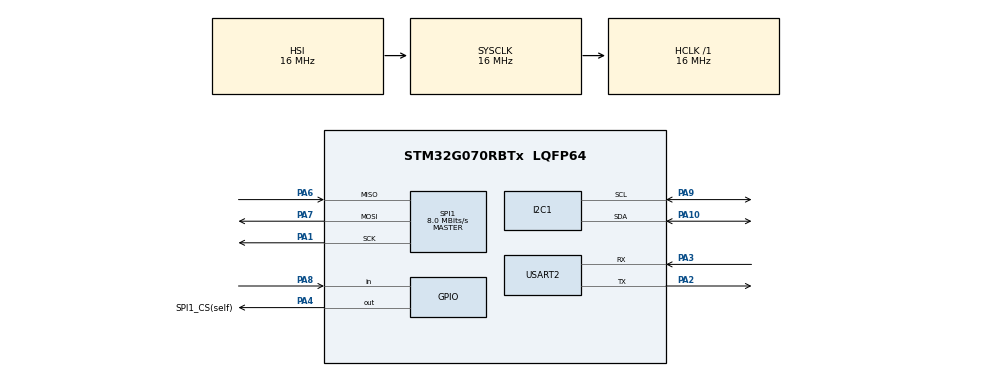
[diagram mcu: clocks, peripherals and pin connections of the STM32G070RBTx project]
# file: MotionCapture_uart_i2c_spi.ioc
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I2C1.Timing=0x00503D58
Mcu.Family=STM32G0
Mcu.Name=STM32G070RBTx
Mcu.Package=LQFP64
NVIC.TIM3_IRQn=true\:0\:0\:false\:false\:true\:true\:true\:true
PA1.Mode=Full_Duplex_Master
PA1.Signal=SPI1_SCK
PA10.Mode=I2C
PA10.Signal=I2C1_SDA
PA2.GPIO_PuPd=GPIO_PULLUP
PA2.Mode=Asynchronous
PA2.Signal=USART2_TX
PA3.GPIO_PuPd=GPIO_PULLUP
PA3.Mode=Asynchronous
PA3.Signal=USART2_RX
PA4.GPIO_Label=SPI1_CS(self)
PA4.Signal=GPIO_Output
PA6.Mode=Full_Duplex_Master
PA6.Signal=SPI1_MISO
PA7.Mode=Full_Duplex_Master
PA7.Signal=SPI1_MOSI
PA8.GPIO_PuPd=GPIO_NOPULL
PA8.Signal=GPIO_Input
PA9.Mode=I2C
PA9.Signal=I2C1_SCL
ProjectManager.HeapSize=0x200
ProjectManager.StackSize=0x400
ProjectManager.TargetToolchain=STM32CubeIDE
RCC.AHBFreq_Value=16000000
RCC.CortexFreq_Value=16000000
RCC.EXTERNAL_CLOCK_VALUE=12288000
RCC.HCLKFreq_Value=16000000
RCC.HSE_VALUE=8000000
RCC.HSI_VALUE=16000000
RCC.LSE_VALUE=32768
RCC.SYSCLKFreq_VALUE=16000000
RCC.VCOOutputFreq_Value=128000000
SPI1.CalculateBaudRate=8.0 MBits/s
SPI1.Direction=SPI_DIRECTION_2LINES
SPI1.Mode=SPI_MODE_MASTER
SPI1.VirtualType=VM_MASTER
TIM3.Period=15999
USART2.VirtualMode-Asynchronous=VM_ASYNC
USART2.WordLength=WORDLENGTH_7B
VP_TIM3_VS_ClockSourceINT.Mode=Internal
board=NUCLEO-G070RB

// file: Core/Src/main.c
/* USER CODE BEGIN Header */
/**
  ******************************************************************************
  * @file           : main.c
  * @brief          : Main program body
  ******************************************************************************
  * @attention
  *
  * Copyright (c) 2026 STMicroelectronics.
  * All rights reserved.
  *
  * This software is licensed under terms that can be found in the LICENSE file
  * in the root directory of this software component.
  * If no LICENSE file comes with this software, it is provided AS-IS.
  *
  ******************************************************************************
  */
/* USER CODE END Header */
#include "main.h"

/* USER CODE BEGIN Includes */
#include <stdio.h>
#include <string.h>
#include "ssd1306.h"
#include "fonts.h"
/* USER CODE END Includes */

/* USER CODE BEGIN PD */
#define NO_MOTION 0x00
#define MOTION_DETECTED 0x01
/* USER CODE END PD */

I2C_HandleTypeDef hi2c1;

SPI_HandleTypeDef hspi1;

TIM_HandleTypeDef htim3;

UART_HandleTypeDef huart2;

/* USER CODE BEGIN PV */
volatile uint8_t timer_flag = 0;
uint8_t motion_state = 0;
uint8_t prev_motion_state = GPIO_PIN_RESET;

char uart_buf[100];
/* USER CODE END PV */

void SystemClock_Config(void);
static void MX_GPIO_Init(void);
static void MX_I2C1_Init(void);
static void MX_TIM3_Init(void);
static void MX_USART2_UART_Init(void);
static void MX_SPI1_Init(void);

/* USER CODE BEGIN 0 */
/*UART Output*/
int _write(int file, char *ptr,int len){
	HAL_UART_Transmit(&huart2,(uint8_t *)ptr,len,HAL_MAX_DELAY);
	return len;
}

void HAL_TIM_PeriodElapsedCallback(TIM_HandleTypeDef *htim){
	if(htim->Instance == TIM3){
		timer_flag = 1;
	}

}

/*to others to send the state*/
void SPI_SendMotionState(uint8_t state){
    uint8_t rx = 0;

    HAL_GPIO_WritePin(GPIOA, GPIO_PIN_4, GPIO_PIN_RESET);
    HAL_Delay(1);

    HAL_SPI_TransmitReceive(&hspi1, &state, &rx, 1, HAL_MAX_DELAY);

    HAL_Delay(1);
    HAL_GPIO_WritePin(GPIOA, GPIO_PIN_4, GPIO_PIN_SET);

}
/* USER CODE END 0 */

int main(void)
{

  /* MCU Configuration--------------------------------------------------------*/

  /* Reset of all peripherals, Initializes the Flash interface and the Systick. */
  HAL_Init();

  /* Configure the system clock */
  SystemClock_Config();

  /* Initialize all configured peripherals */
  MX_GPIO_Init();
  MX_I2C1_Init();
  MX_TIM3_Init();
  MX_USART2_UART_Init();
  MX_SPI1_Init();
  /* USER CODE BEGIN 2 */
  HAL_TIM_Base_Start_IT(&htim3);
  printf("System Start\r\n");

  ssd1306_Init(&hi2c1);
  ssd1306_Fill(Black);
  ssd1306_SetCursor(0, 0);
  ssd1306_WriteString("Hello OLED", Font_7x10, White);
  ssd1306_UpdateScreen(&hi2c1);
  HAL_Delay(5000);
  printf("PIR Ready\r\n");
  /* USER CODE END 2 */

  /* Infinite loop */
  while (1)
  {

    /* USER CODE BEGIN 3 */
	  ssd1306_Fill(Black);
	  ssd1306_SetCursor(0, 0);
	  ssd1306_WriteString("Motion Sensor", Font_7x10, White);
	  ssd1306_SetCursor(0, 20);

	  if(timer_flag){
		  timer_flag = 0;
		  motion_state = HAL_GPIO_ReadPin(GPIOA,GPIO_PIN_8);

		  if(motion_state != prev_motion_state){
			  if(motion_state == GPIO_PIN_SET){

				  printf("Motion Detected\r\n");
				  ssd1306_WriteString("Motion Detected", Font_7x10, White);
				  SPI_SendMotionState(MOTION_DETECTED);
			  }else{
				  printf("No Motion\r\n");
				  ssd1306_WriteString("No Motion", Font_7x10, White);
				  SPI_SendMotionState(NO_MOTION);
			  }
			  ssd1306_UpdateScreen(&hi2c1);
			  prev_motion_state = motion_state;
		  }
	  }
  }
  /* USER CODE END 3 */
}

void SystemClock_Config(void)
{
  RCC_OscInitTypeDef RCC_OscInitStruct = {0};
  RCC_ClkInitTypeDef RCC_ClkInitStruct = {0};

  /** Configure the main internal regulator output voltage
  */
  HAL_PWREx_ControlVoltageScaling(PWR_REGULATOR_VOLTAGE_SCALE1);

  /** Initializes the RCC Oscillators according to the specified parameters
  * in the RCC_OscInitTypeDef structure.
  */
  RCC_OscInitStruct.OscillatorType = RCC_OSCILLATORTYPE_HSI;
  RCC_OscInitStruct.HSIState = RCC_HSI_ON;
  RCC_OscInitStruct.HSIDiv = RCC_HSI_DIV1;
  RCC_OscInitStruct.HSICalibrationValue = RCC_HSICALIBRATION_DEFAULT;
  RCC_OscInitStruct.PLL.PLLState = RCC_PLL_NONE;
  if (HAL_RCC_OscConfig(&RCC_OscInitStruct) != HAL_OK)
  {
    Error_Handler();
  }

  /** Initializes the CPU, AHB and APB buses clocks
  */
  RCC_ClkInitStruct.ClockType = RCC_CLOCKTYPE_HCLK|RCC_CLOCKTYPE_SYSCLK
                              |RCC_CLOCKTYPE_PCLK1;
  RCC_ClkInitStruct.SYSCLKSource = RCC_SYSCLKSOURCE_HSI;
  RCC_ClkInitStruct.AHBCLKDivider = RCC_SYSCLK_DIV1;
  RCC_ClkInitStruct.APB1CLKDivider = RCC_HCLK_DIV1;

  if (HAL_RCC_ClockConfig(&RCC_ClkInitStruct, FLASH_LATENCY_0) != HAL_OK)
  {
    Error_Handler();
  }
}

static void MX_I2C1_Init(void)
{

  hi2c1.Instance = I2C1;
  hi2c1.Init.Timing = 0x00503D58;
  hi2c1.Init.OwnAddress1 = 0;
  hi2c1.Init.AddressingMode = I2C_ADDRESSINGMODE_7BIT;
  hi2c1.Init.DualAddressMode = I2C_DUALADDRESS_DISABLE;
  hi2c1.Init.OwnAddress2 = 0;
  hi2c1.Init.OwnAddress2Masks = I2C_OA2_NOMASK;
  hi2c1.Init.GeneralCallMode = I2C_GENERALCALL_DISABLE;
  hi2c1.Init.NoStretchMode = I2C_NOSTRETCH_DISABLE;
  if (HAL_I2C_Init(&hi2c1) != HAL_OK)
  {
    Error_Handler();
  }

  /** Configure Analogue filter
  */
  if (HAL_I2CEx_ConfigAnalogFilter(&hi2c1, I2C_ANALOGFILTER_ENABLE) != HAL_OK)
  {
    Error_Handler();
  }

  /** Configure Digital filter
  */
  if (HAL_I2CEx_ConfigDigitalFilter(&hi2c1, 0) != HAL_OK)
  {
    Error_Handler();
  }

}

static void MX_SPI1_Init(void)
{

  /* SPI1 parameter configuration*/
  hspi1.Instance = SPI1;
  hspi1.Init.Mode = SPI_MODE_MASTER;
  hspi1.Init.Direction = SPI_DIRECTION_2LINES;
  hspi1.Init.DataSize = SPI_DATASIZE_8BIT;
  hspi1.Init.CLKPolarity = SPI_POLARITY_LOW;
  hspi1.Init.CLKPhase = SPI_PHASE_1EDGE;
  hspi1.Init.NSS = SPI_NSS_SOFT;
  hspi1.Init.BaudRatePrescaler = SPI_BAUDRATEPRESCALER_16;
  hspi1.Init.FirstBit = SPI_FIRSTBIT_MSB;
  hspi1.Init.TIMode = SPI_TIMODE_DISABLE;
  hspi1.Init.CRCCalculation = SPI_CRCCALCULATION_DISABLE;
  hspi1.Init.CRCPolynomial = 7;
  hspi1.Init.CRCLength = SPI_CRC_LENGTH_DATASIZE;
  hspi1.Init.NSSPMode = SPI_NSS_PULSE_ENABLE;
  if (HAL_SPI_Init(&hspi1) != HAL_OK)
  {
    Error_Handler();
  }

}

static void MX_TIM3_Init(void)
{

  TIM_ClockConfigTypeDef sClockSourceConfig = {0};
  TIM_MasterConfigTypeDef sMasterConfig = {0};

  htim3.Instance = TIM3;
  htim3.Init.Prescaler = 15999;
  htim3.Init.CounterMode = TIM_COUNTERMODE_UP;
  htim3.Init.Period = 99;
  htim3.Init.ClockDivision = TIM_CLOCKDIVISION_DIV1;
  htim3.Init.AutoReloadPreload = TIM_AUTORELOAD_PRELOAD_DISABLE;
  if (HAL_TIM_Base_Init(&htim3) != HAL_OK)
  {
    Error_Handler();
  }
  sClockSourceConfig.ClockSource = TIM_CLOCKSOURCE_INTERNAL;
  if (HAL_TIM_ConfigClockSource(&htim3, &sClockSourceConfig) != HAL_OK)
  {
    Error_Handler();
  }
  sMasterConfig.MasterOutputTrigger = TIM_TRGO_RESET;
  sMasterConfig.MasterSlaveMode = TIM_MASTERSLAVEMODE_DISABLE;
  if (HAL_TIMEx_MasterConfigSynchronization(&htim3, &sMasterConfig) != HAL_OK)
  {
    Error_Handler();
  }

}

static void MX_USART2_UART_Init(void)
{

  huart2.Instance = USART2;
  huart2.Init.BaudRate = 115200;
  huart2.Init.WordLength = UART_WORDLENGTH_8B;
  huart2.Init.StopBits = UART_STOPBITS_1;
  huart2.Init.Parity = UART_PARITY_NONE;
  huart2.Init.Mode = UART_MODE_TX_RX;
  huart2.Init.HwFlowCtl = UART_HWCONTROL_NONE;
  huart2.Init.OverSampling = UART_OVERSAMPLING_16;
  huart2.Init.OneBitSampling = UART_ONE_BIT_SAMPLE_DISABLE;
  huart2.Init.ClockPrescaler = UART_PRESCALER_DIV1;
  huart2.AdvancedInit.AdvFeatureInit = UART_ADVFEATURE_NO_INIT;
  if (HAL_UART_Init(&huart2) != HAL_OK)
  {
    Error_Handler();
  }
  if (HAL_UARTEx_SetTxFifoThreshold(&huart2, UART_TXFIFO_THRESHOLD_1_8) != HAL_OK)
  {
    Error_Handler();
  }
  if (HAL_UARTEx_SetRxFifoThreshold(&huart2, UART_RXFIFO_THRESHOLD_1_8) != HAL_OK)
  {
    Error_Handler();
  }
  if (HAL_UARTEx_DisableFifoMode(&huart2) != HAL_OK)
  {
    Error_Handler();
  }

}

static void MX_GPIO_Init(void)
{
  GPIO_InitTypeDef GPIO_InitStruct = {0};

  /* GPIO Ports Clock Enable */
  __HAL_RCC_GPIOA_CLK_ENABLE();

  /*Configure GPIO pin Output Level */
  HAL_GPIO_WritePin(SPI1_CS_GPIO_Port, SPI1_CS_Pin, GPIO_PIN_SET);

  /*Configure GPIO pin : SPI1_CS_Pin */
  GPIO_InitStruct.Pin = SPI1_CS_Pin;
  GPIO_InitStruct.Mode = GPIO_MODE_OUTPUT_PP;
  GPIO_InitStruct.Pull = GPIO_NOPULL;
  GPIO_InitStruct.Speed = GPIO_SPEED_FREQ_LOW;
  HAL_GPIO_Init(SPI1_CS_GPIO_Port, &GPIO_InitStruct);

  /*Configure GPIO pin : PA8 */
  GPIO_InitStruct.Pin = GPIO_PIN_8;
  GPIO_InitStruct.Mode = GPIO_MODE_INPUT;
  GPIO_InitStruct.Pull = GPIO_NOPULL;
  HAL_GPIO_Init(GPIOA, &GPIO_InitStruct);

}

void Error_Handler(void)
{
  __disable_irq();
  while (1)
  {
  }
}
